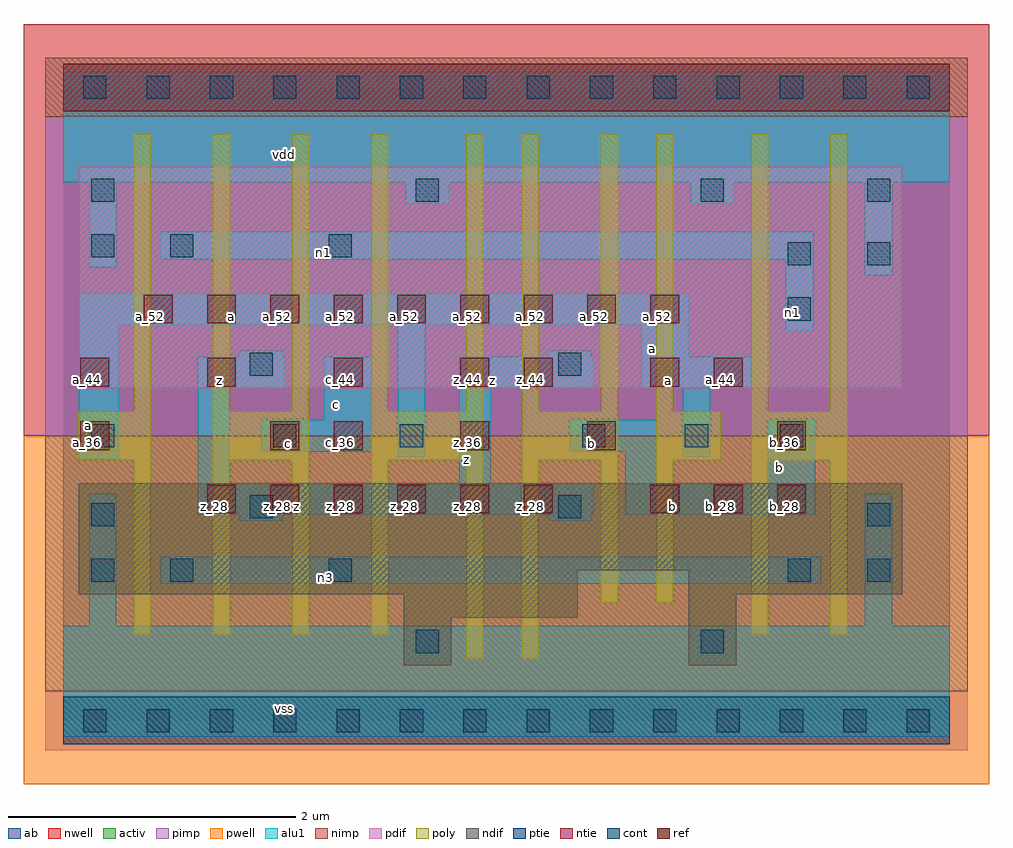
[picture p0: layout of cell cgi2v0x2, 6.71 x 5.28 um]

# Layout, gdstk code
import gdstk
lib = gdstk.Library(unit=1e-6, precision=2.5e-09)
def R(c, l, rs):  # rectangles x0, y0, x1, y1
    for r in rs: c.add(gdstk.rectangle(r[:2], r[2:], *l))
def A(c, l, x, y, w, h, nx, ny, dx, dy):  # array of equal rectangles
    R(c, l, [(x+i*dx, y+j*dy, x+i*dx+w, y+j*dy+h) for i in range(nx) for j in range(ny)])
ndif = (3, 0)
pdif = (4, 0)
ntie = (5, 0)
ptie = (6, 0)
ref = (24, 0)
cont = (25, 0)
pwell = (41, 0)
nwell = (42, 0)
activ = (43, 0)
pimp = (44, 0)
nimp = (45, 0)
poly = (46, 0)
alu1 = (49, 0)
ab = (63, 0)

cgi2v0x2 = lib.new_cell('cgi2v0x2')
R(cgi2v0x2, ndif, [(2.365,0.385,2.695,0.715), (4.345,0.385,4.675,0.88), (2.365,0.715,3.575,0.88), (0.11,0.88,3.575,1.045), (4.345,0.88,5.83,1.045), (0.11,1.045,5.83,1.65)])
R(cgi2v0x2, pdif, [(0.11,2.31,5.83,3.85)])
R(cgi2v0x2, ntie, [(0,4.235,6.16,4.565)])
R(cgi2v0x2, ptie, [(0,-0.165,6.16,0.165)])
A(cgi2v0x2, ref, 1, 1.44, 0.2, 0.2, 6, 1, 0.44, 0)
A(cgi2v0x2, ref, 4.08, 1.44, 0.2, 0.2, 3, 1, 0.44, 0)
A(cgi2v0x2, ref, 1.88, 1.88, 0.2, 0.2, 3, 1, 0.88, 0)
A(cgi2v0x2, ref, 0.12, 2.32, 0.2, 0.2, 4, 1, 0.88, 0)
A(cgi2v0x2, ref, 0.56, 2.76, 0.2, 0.2, 9, 1, 0.44, 0)
R(cgi2v0x2, ref, [(0.12,1.88,0.32,2.08), (1.44,1.88,1.64,2.08), (4.96,1.88,5.16,2.08), (3.2,2.32,3.4,2.52), (4.08,2.32,4.28,2.52), (4.52,2.32,4.72,2.52)])
A(cgi2v0x2, cont, 0.14, -0.08, 0.16, 0.16, 14, 2, 0.44, 4.4)
R(cgi2v0x2, cont, [(2.45,0.47,2.61,0.63), (4.43,0.47,4.59,0.63), (0.195,0.965,0.355,1.125), (0.745,0.965,0.905,1.125), (1.845,0.965,2.005,1.125), (5.035,0.965,5.195,1.125), (5.585,0.965,5.745,1.125), (0.195,1.35,0.355,1.51), (5.585,1.35,5.745,1.51), (1.295,1.405,1.455,1.565), (3.44,1.405,3.6,1.565), (0.195,1.9,0.355,2.06), (1.46,1.9,1.62,2.06), (2.34,1.9,2.5,2.06), (3.605,1.9,3.765,2.06), (4.32,1.9,4.48,2.06), (4.98,1.9,5.14,2.06), (1.295,2.395,1.455,2.555), (3.44,2.395,3.6,2.555), (5.035,2.78,5.195,2.94), (5.035,3.165,5.195,3.325), (5.585,3.165,5.745,3.325), (0.195,3.22,0.355,3.38), (0.745,3.22,0.905,3.38), (1.845,3.22,2.005,3.38), (0.195,3.605,0.355,3.765), (2.45,3.605,2.61,3.765), (4.43,3.605,4.59,3.765), (5.585,3.605,5.745,3.765)])
R(cgi2v0x2, pwell, [(-0.275,-0.44,6.435,1.98)])
R(cgi2v0x2, nwell, [(-0.275,1.98,6.435,4.84)])
R(cgi2v0x2, activ, [(0,-0.165,6.16,0.165), (2.365,0.385,2.695,0.715), (4.345,0.385,4.675,0.88), (2.365,0.715,3.575,0.88), (0.11,0.88,3.575,1.045), (4.345,0.88,5.83,1.045), (0.11,1.045,5.83,1.65), (0.11,2.31,5.83,3.85), (0,4.235,6.16,4.565)])
R(cgi2v0x2, pimp, [(-0.125,-0.205,6.285,0.205), (-0.125,1.98,6.285,4.195)])
R(cgi2v0x2, nimp, [(-0.125,0.205,6.285,1.98), (-0.125,4.195,6.285,4.605)])
A(cgi2v0x2, poly, 0.49, 0.6, 0.12, 1.21, 4, 1, 0.55, 0)
A(cgi2v0x2, poly, 0.49, 2.15, 0.12, 1.925, 4, 1, 0.55, 0)
R(cgi2v0x2, poly, [(2.8,0.435,2.92,1.81), (3.185,0.435,3.305,1.81), (4.78,0.6,4.9,1.81), (5.33,0.6,5.45,1.81), (3.735,0.82,3.855,1.81), (4.12,0.82,4.24,1.81), (0.105,1.81,0.61,2.15), (1.04,1.81,1.71,2.15), (2.14,1.81,2.92,2.15), (3.185,1.81,3.855,2.15), (4.12,1.81,4.57,2.15), (4.78,1.81,5.45,2.15), (2.8,2.15,2.92,4.075), (3.185,2.15,3.305,4.075), (3.735,2.15,3.855,4.075), (4.12,2.15,4.24,4.075), (4.78,2.15,4.9,4.075), (5.33,2.15,5.45,4.075)])
R(cgi2v0x2, alu1, [(0,-0.11,6.16,0.66), (0.18,0.66,0.37,1.58), (5.57,0.66,5.76,1.58), (0.675,0.95,5.265,1.14), (1.225,1.39,1.525,1.43), (3.37,1.39,3.67,1.43), (0.935,1.43,3.685,1.65), (3.905,1.43,5.225,1.65), (0.935,1.65,1.155,2.31), (2.75,1.65,2.97,2.31), (3.905,1.65,4.125,1.87), (4.895,1.65,5.225,2.09), (0.11,1.815,0.385,2.75), (2.325,1.83,2.515,2.75), (4.305,1.83,4.495,2.31), (1.375,1.87,2.145,2.09), (3.52,1.87,4.125,2.09), (1.815,2.09,2.145,2.53), (0.935,2.31,1.54,2.53), (2.75,2.31,3.685,2.53), (4.015,2.31,4.785,2.53), (1.225,2.53,1.525,2.57), (3.37,2.53,3.67,2.57), (4.015,2.53,4.345,2.75), (5.02,2.71,5.21,3.205), (0.11,2.75,4.345,2.97), (5.57,3.095,5.76,3.74), (0.18,3.15,0.37,3.74), (0.675,3.205,5.21,3.395), (2.38,3.59,2.68,3.74), (4.36,3.59,4.66,3.74), (0,3.74,6.16,4.51)])
R(cgi2v0x2, ab, [(0,0,6.16,4.4)])
cgi2v0x2.add(gdstk.Label('vss', (1.54,0.0825), layer=49, texttype=0))
cgi2v0x2.add(gdstk.Label('n3', (1.8225,0.9975), layer=49, texttype=0))
cgi2v0x2.add(gdstk.Label('b', (4.235,1.485), layer=49, texttype=0))
cgi2v0x2.add(gdstk.Label('z', (1.6225,1.485), layer=49, texttype=0))
cgi2v0x2.add(gdstk.Label('b', (4.9775,1.76), layer=49, texttype=0))
cgi2v0x2.add(gdstk.Label('b', (3.67,1.925), layer=49, texttype=0))
cgi2v0x2.add(gdstk.Label('z', (2.805,1.815), layer=49, texttype=0))
cgi2v0x2.add(gdstk.Label('a', (4.2075,2.365), layer=49, texttype=0))
cgi2v0x2.add(gdstk.Label('z', (2.9825,2.365), layer=49, texttype=0))
cgi2v0x2.add(gdstk.Label('n1', (5.0675,2.8325), layer=49, texttype=0))
cgi2v0x2.add(gdstk.Label('a', (4.0975,2.585), layer=49, texttype=0))
cgi2v0x2.add(gdstk.Label('c', (1.5675,1.925), layer=49, texttype=0))
cgi2v0x2.add(gdstk.Label('c', (1.8975,2.2), layer=49, texttype=0))
cgi2v0x2.add(gdstk.Label('z', (1.085,2.365), layer=49, texttype=0))
cgi2v0x2.add(gdstk.Label('a', (0.1775,2.0475), layer=49, texttype=0))
cgi2v0x2.add(gdstk.Label('a', (1.1675,2.805), layer=49, texttype=0))
cgi2v0x2.add(gdstk.Label('n1', (1.8075,3.2525), layer=49, texttype=0))
cgi2v0x2.add(gdstk.Label('vdd', (1.54,3.9325), layer=49, texttype=0))
cgi2v0x2.add(gdstk.Label('b_36', (5.01,1.93), layer=24, texttype=0))
cgi2v0x2.add(gdstk.Label('b_28', (5.01,1.49), layer=24, texttype=0))
cgi2v0x2.add(gdstk.Label('a_44', (4.57,2.37), layer=24, texttype=0))
cgi2v0x2.add(gdstk.Label('b_28', (4.57,1.49), layer=24, texttype=0))
cgi2v0x2.add(gdstk.Label('a_52', (4.13,2.81), layer=24, texttype=0))
cgi2v0x2.add(gdstk.Label('a_44', (4.13,2.37), layer=24, texttype=0))
cgi2v0x2.add(gdstk.Label('b_28', (4.13,1.49), layer=24, texttype=0))
cgi2v0x2.add(gdstk.Label('a_52', (3.69,2.81), layer=24, texttype=0))
cgi2v0x2.add(gdstk.Label('b_36', (3.69,1.93), layer=24, texttype=0))
cgi2v0x2.add(gdstk.Label('a_52', (3.25,2.81), layer=24, texttype=0))
cgi2v0x2.add(gdstk.Label('z_44', (3.25,2.37), layer=24, texttype=0))
cgi2v0x2.add(gdstk.Label('z_28', (3.25,1.49), layer=24, texttype=0))
cgi2v0x2.add(gdstk.Label('a_52', (2.81,2.81), layer=24, texttype=0))
cgi2v0x2.add(gdstk.Label('z_44', (2.81,2.37), layer=24, texttype=0))
cgi2v0x2.add(gdstk.Label('z_36', (2.81,1.93), layer=24, texttype=0))
cgi2v0x2.add(gdstk.Label('z_28', (2.81,1.49), layer=24, texttype=0))
cgi2v0x2.add(gdstk.Label('a_52', (2.37,2.81), layer=24, texttype=0))
cgi2v0x2.add(gdstk.Label('z_28', (2.37,1.49), layer=24, texttype=0))
cgi2v0x2.add(gdstk.Label('a_44', (0.17,2.37), layer=24, texttype=0))
cgi2v0x2.add(gdstk.Label('a_36', (0.17,1.93), layer=24, texttype=0))
cgi2v0x2.add(gdstk.Label('a_52', (1.93,2.81), layer=24, texttype=0))
cgi2v0x2.add(gdstk.Label('c_44', (1.93,2.37), layer=24, texttype=0))
cgi2v0x2.add(gdstk.Label('c_36', (1.93,1.93), layer=24, texttype=0))
cgi2v0x2.add(gdstk.Label('z_28', (1.93,1.49), layer=24, texttype=0))
cgi2v0x2.add(gdstk.Label('a_52', (1.49,2.81), layer=24, texttype=0))
cgi2v0x2.add(gdstk.Label('c_36', (1.49,1.93), layer=24, texttype=0))
cgi2v0x2.add(gdstk.Label('z_28', (1.49,1.49), layer=24, texttype=0))
cgi2v0x2.add(gdstk.Label('a_52', (1.05,2.81), layer=24, texttype=0))
cgi2v0x2.add(gdstk.Label('z_44', (1.05,2.37), layer=24, texttype=0))
cgi2v0x2.add(gdstk.Label('z_28', (1.05,1.49), layer=24, texttype=0))
cgi2v0x2.add(gdstk.Label('a_52', (0.61,2.81), layer=24, texttype=0))

lib.write_gds('cgi2v0x2.gds')
